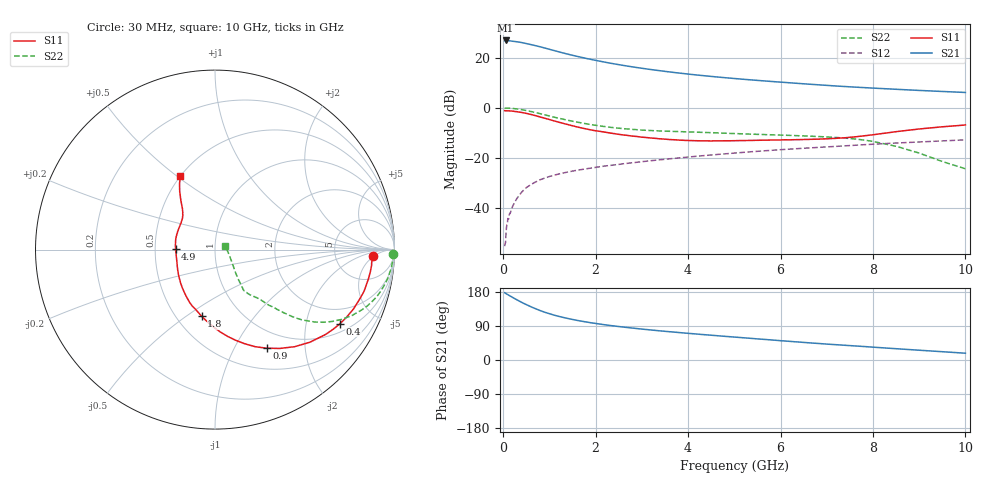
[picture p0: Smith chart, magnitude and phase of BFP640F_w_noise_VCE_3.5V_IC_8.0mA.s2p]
! Infineon Technologies  Discrete & RF Semiconductors
! BFP640F
! VCE =  3.5 V,  IC =  8.0 mA
! Common Emitter S-Parameters:  Apr 2013
# GHz  S  MA  R  50
!  f  S11  S21  S12  S22
! GHz  MAG  ANG  MAG  ANG  MAG  ANG  MAG  ANG
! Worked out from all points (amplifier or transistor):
!   99 points, 30 MHz to 10 GHz, reference 50 ohm
!   highest |S21| = 27.0 dB at 50 MHz (marker M1)
!   |S21| within 3 dB of that: start of sweep to 894.5 MHz
!   unconditionally stable (mu >= 1): 3.383 GHz to end of sweep
!   at 350 MHz: K = 0.15, MSG = 30.6 dB, |S12| = -34.9 dB
!   at 3.5 GHz: K = 1.01, MAG = 17.0 dB, |S12| = -20.6 dB
!   at 10 GHz: K = 1.08, MAG = 7.8 dB, |S12| = -12.8 dB
!   lowest NFmin = 0.59 dB at 450 MHz
!   S11 on the Smith chart (normalised r, x): 30 MHz: 14, -5; 400 MHz: 1.32, -3.15; 900 MHz: 0.76, -1.36; 1.8 GHz: 0.66, -0.58; 4.9 GHz: 0.64, +0.01; 10 GHz: 0.50, +0.52
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0.03  0.8809 -2.3  22.16 177.5  0.0017 80.1  0.9933 -1.3
0.05  0.8772 -4.1  22.45 176.2  0.002 80.7  0.9908 -2.3
0.1  0.8746 -7.9  22.17 172.5  0.0061 87.5  0.9893 -4.7
0.15  0.8681 -11.8  22.03 168.9  0.0077 84.9  0.9829 -7.2
0.25  0.85 -19.5  21.43 161.9  0.013 82.2  0.9643 -11.8
0.4  0.8098 -30.6  20.36 152.1  0.0206 75.7  0.9208 -18.4
0.6  0.739 -44.3  18.55 140.5  0.0292 70.2  0.8468 -25.7
0.7  0.6992 -50.7  17.65 135.3  0.0328 67.9  0.805 -28.9
0.9  0.6199 -62.4  15.85 126.0  0.0393 64.0  0.7258 -33.9
1.1  0.5492 -72.6  14.11 118.4  0.0449 60.9  0.653 -37.5
1.3  0.4899 -81.5  12.57 112.3  0.0498 58.8  0.5926 -40.1
1.5  0.4386 -89.8  11.31 107.0  0.0543 57.4  0.5408 -41.8
1.7  0.3957 -97.7  10.27 102.3  0.0584 56.2  0.4983 -43.2
1.8  0.3788 -101.3  9.784 100.3  0.0604 55.9  0.4811 -43.9
2.1  0.3377 -112.3  8.601 94.6  0.0665 54.8  0.4341 -45.8
2.5  0.2957 -124.8  7.357 88.3  0.0739 53.9  0.3922 -47.2
3.4  0.2399 -149.2  5.545 76.8  0.0916 51.9  0.3446 -49.9
4.9  0.2197 178.8  3.955 61.5  0.1224 47.7  0.3087 -52.9
5.1  0.2213 175.0  3.812 59.6  0.1266 47.0  0.3045 -53.3
6.7  0.2354 147.3  2.953 44.6  0.1594 40.5  0.27 -54.7
8.5  0.3343 124.7  2.361 29.8  0.1978 32.4  0.1705 -48.1
10  0.4549 115.0  2.039 17.9  0.2292 24.9  0.0604 18.6
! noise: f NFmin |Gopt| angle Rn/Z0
0.45  0.59  0.27  8  0.06
0.9  0.59  0.26  20  0.07
1.5  0.62  0.25  28  0.08
1.9  0.63  0.23  41  0.09
2.4  0.67  0.2  55  0.09
3.5  0.76  0.17  82  0.11
5.5  0.97  0.15  168  0.14
10  1.57  0.41  -101  0.33
